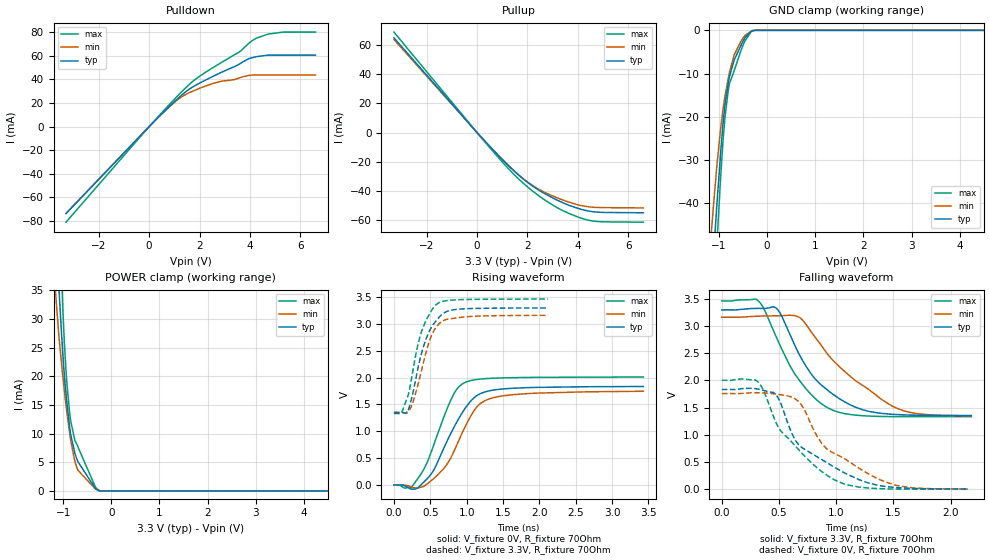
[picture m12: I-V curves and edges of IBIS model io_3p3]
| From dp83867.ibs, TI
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|   io_3p3 Model
[Model]   io_3p3
Model_type   I/O
Polarity   Non-Inverting
Enable   Active-Low
Vinl = 0.7
Vinh = 1.7
Vmeas = 1.65
Vref = 0
Cref = 5pF
Rref = 70
|   typ   min   max
|   (nom PVT)   (fast PVT)   (slow PVT)
C_comp   1.934e-12   1.359e-12   1.976e-12
| Where nom  PVT is Nominal Process, 3.3V, 27C
|   Fast PVT is Strong Process,  3.465V, -40C
|   Slow PVT is Weak Process,   3.165V, 125C
[Voltage Range]   3.3   3.165   3.465
|Junction Temperature
[Temperature Range]   27   125   -40
[Pullup Reference]   3.3   3.165   3.465
[Pulldown Reference]   0   0   0
[Power Clamp Reference]   3.3   3.165   3.465
[GND Clamp Reference]   0   0   0
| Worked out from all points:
|   slope of the pulldown table from 0 to 0.495 V, typ, clamps not added: 46.5 ohm
|   slope of the pullup table from 0 to 0.495 V, typ, clamps not added: 53.5 ohm
|   GND clamp passes 1 mA (typ) near -0.40 V on its own axis
|   falling waveform, V_fixture 3.3V, R_fixture 70Ohm: 20-80 % time 391ps typ, 546ps min, 346ps max; typ from 3.3 V to 1.35 V
|   rising waveform, V_fixture 0V, R_fixture 70Ohm: 20-80 % time 419ps typ, 399ps min, 341ps max; typ from 0 V to 1.83 V
|   rising waveform, V_fixture 3.3V, R_fixture 70Ohm: 20-80 % time 239ps typ, 224ps min, 222ps max; typ from 1.35 V to 3.3 V
|   falling waveform, V_fixture 0V, R_fixture 70Ohm: 20-80 % time 479ps typ, 489ps min, 423ps max; typ from 1.83 V to -0.001 V
[Pulldown]
|   Voltage   I(typ)   I(min)   I(max)
-3.3V     -73.78mA   -73.5mA    -81.02mA
304.9mV   6.598mA    6.584mA    7.163mA
1.007V    21.2mA     20.55mA    23.27mA
1.405V    28.69mA    26.67mA    31.94mA
1.936V    36.08mA    31.83mA    41.66mA
2.549V    42.71mA    36.65mA    50.15mA
3.543V    52.5mA     40.98mA    62.74mA
3.926V    57.25mA    43.27mA    70.01mA
4.268V    59.25mA    43.72mA    75.04mA
4.697V    60.5mA     43.72mA    78.18mA
5.321V    60.57mA    43.72mA    80.06mA
6.6V      60.57mA    43.72mA    80.06mA
[GND Clamp]
|   Voltage   I(typ)   I(min)   I(max)
-3.3V     -481.3mA   -411.6mA   -551mA
-1.168V   -62.07mA   -48.2mA    -75.93mA
-1.122V   -53.67mA   -41.64mA   -66.05mA
-1.047V   -40.74mA   -31.69mA   -50.09mA
-968.1mV  -28.7mA    -22.94mA   -34.46mA
-914.1mV  -21.16mA   -18.12mA   -25.28mA
-875.6mV  -17.24mA   -15.2mA    -20.16mA
-784.4mV  -10.86mA   -9.823mA   -12.46mA
-685.7mV  -6.896mA   -5.74mA    -9.399mA
-552.8mV  -3.738mA   -2.735mA   -4.969mA
-299.3mV  -102.3uA   -107.6uA   -22.26uA
6.6V      0A         0A         0A
[Pullup]
|   Voltage   I(typ)   I(min)   I(max)
-3.3V     64.86mA    63.76mA    68.78mA
1.095mV   -26.71uA   -7.147uA   -25.05uA
855.6mV   -15.79mA   -15.82mA   -17.28mA
1.371V    -24.64mA   -24.55mA   -26.97mA
1.742V    -30.46mA   -30.23mA   -33.24mA
2.438V    -39.23mA   -38.67mA   -43.09mA
2.93V     -44.05mA   -42.81mA   -48.8mA
3.398V    -47.98mA   -46.09mA   -53.36mA
4.046V    -52.09mA   -49.62mA   -58.05mA
4.382V    -53.56mA   -50.7mA    -59.82mA
4.926V    -54.58mA   -51.31mA   -61.01mA
6.6V      -54.89mA   -51.55mA   -61.31mA
[POWER Clamp]
|   Voltage   I(typ)   I(min)   I(max)
-3.3V     598.5mA    481.6mA    716.6mA
-1.162V   49.02mA    34.99mA    69mA
-1.086V   35.03mA    26.79mA    49.91mA
-1.016V   25mA       20.72mA    33.91mA
-947.1mV  17.47mA    15.37mA    21.85mA
-919.5mV  15.16mA    13.45mA    18.47mA
-843.3mV  9.804mA    8.834mA    12.23mA
-756.7mV  6.589mA    5.143mA    8.793mA
-692mV    5.079mA    3.6mA      7.663mA
-328.1mV  393.2uA    319uA      637.1uA
-254.1mV  37.54uA    75.55uA    105.8uA
6.6V      0A         0A         0A
[Ramp]
R_load = 70
|   typ   min   max
dV/dt_r   1.09873/4.17747e-10   1.05377/4.00817e-10   1.20041/3.38648e-10
dV/dt_f   1.16749/3.9059e-10   1.08994/5.45209e-10   1.27848/3.45208e-10
[Falling Waveform]
V_fixture = 3.3V
V_fixture_min = 3.165V
V_fixture_max = 3.465V
R_fixture = 70Ohm
|   Time   V(typ)   V(min)   V(max)
0s        3.3V       3.165V     3.465V
310ps     3.328V     3.183V     3.481V
360ps     3.327V     3.187V     3.35V
470ps     3.34V      3.191V     2.828V
690ps     2.426V     3.144V     1.968V
810ps     2.041V     2.81V      1.678V
940ps     1.795V     2.442V     1.48V
1.23ns    1.46V      1.909V     1.35V
1.54ns    1.37V      1.479V     1.332V
2.18ns    1.353V     1.347V     1.333V
[Rising Waveform]
V_fixture = 0V
V_fixture_min = 0V
V_fixture_max = 0V
R_fixture = 70Ohm
|   Time   V(typ)   V(min)   V(max)
0s        59.23uV    152.1uV    59.89uV
230ps     -73.83mV   -34.11mV   -42.37mV
460ps     120.4mV    24.06mV    431mV
560ps     310mV      135.8mV    793.8mV
790ps     982mV      527.1mV    1.604V
890ps     1.234V     824.9mV    1.826V
990ps     1.45V      1.115V     1.917V
1.19ns    1.702V     1.519V     1.974V
1.43ns    1.78V      1.646V     1.993V
3.43ns    1.835V     1.747V     2.012V
[Rising Waveform]
V_fixture = 3.3V
V_fixture_min = 3.165V
V_fixture_max = 3.465V
R_fixture = 70Ohm
|   Time   V(typ)   V(min)   V(max)
0s        1.354V     1.348V     1.334V
100ps     1.352V     1.348V     1.338V
190ps     1.366V     1.369V     1.648V
260ps     1.709V     1.536V     2.124V
370ps     2.405V     2.085V     2.814V
490ps     2.873V     2.689V     3.187V
590ps     3.075V     2.958V     3.371V
700ps     3.215V     3.076V     3.43V
870ps     3.273V     3.115V     3.451V
2.12ns    3.299V     3.162V     3.464V
[Falling Waveform]
V_fixture = 0V
V_fixture_min = 0V
V_fixture_max = 0V
R_fixture = 70Ohm
|   Time   V(typ)   V(min)   V(max)
0s        1.834V     1.758V     2.002V
310ps     1.843V     1.773V     1.985V
450ps     1.779V     1.756V     1.344V
510ps     1.604V     1.737V     1.084V
630ps     946.2mV    1.673V     820.4mV
700ps     763.1mV    1.535V     657.9mV
880ps     532.9mV    822mV      310.3mV
1ns       380.9mV    638.9mV    152mV
1.51ns    27.65mV    74.72mV    -1.682mV
2.15ns    -1.307mV   -655.3uV   -1.465mV
